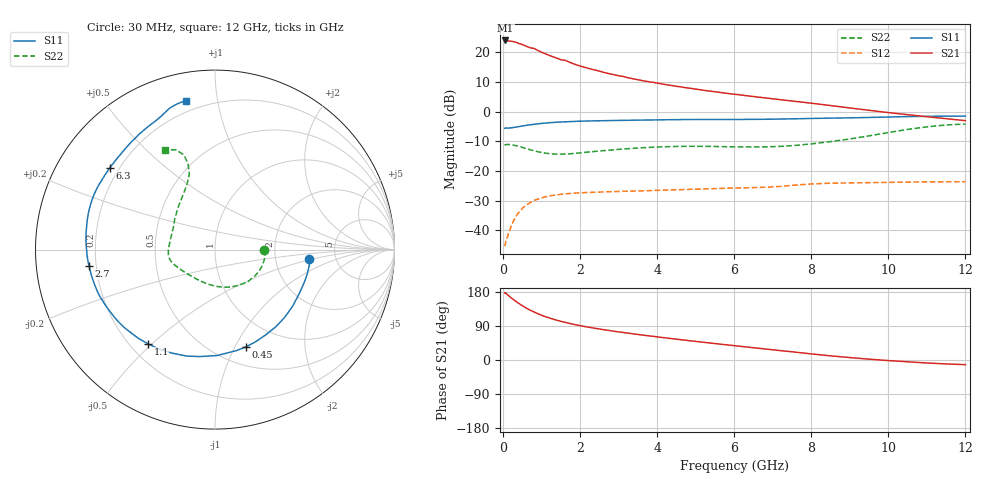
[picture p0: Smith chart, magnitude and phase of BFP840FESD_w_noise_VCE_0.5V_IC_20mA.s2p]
! Infineon Technologies  Discrete & RF Semiconductors
! BFP840FESD
! VCE =  0.5 V,  IC =  20 mA
! Common Emitter S-Parameters:  May 2012
# GHz  S  MA  R  50
!  f  S11  S21  S12  S22
! GHz  MAG  ANG  MAG  ANG  MAG  ANG  MAG  ANG
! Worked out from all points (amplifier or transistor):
!   103 points, 30 MHz to 12 GHz, reference 50 ohm
!   highest |S21| = 24.0 dB at 50 MHz (marker M1)
!   |S21| within 3 dB of that: start of sweep to 841.1 MHz
!   unconditionally stable (mu >= 1): start of sweep to 538.2 MHz; 1.902 GHz to end of sweep
!   at 400 MHz: K = 1.17, MAG = 25.9 dB, |S12| = -33.9 dB
!   at 3.7 GHz: K = 1.49, MAG = 14.3 dB, |S12| = -26.6 dB
!   at 12 GHz: K = 2.33, MAG = 3.8 dB, |S12| = -23.6 dB
!   lowest NFmin = 0.89 dB at 450 MHz
!   S11 on the Smith chart (normalised r, x): 30 MHz: 3.14, -0.44; 450 MHz: 0.69, -1.11; 1.1 GHz: 0.27, -0.48; 2.7 GHz: 0.17, -0.06; 6.3 GHz: 0.16, +0.33; 12 GHz: 0.14, +0.81
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0.03  0.5244 -5.6  15.67 177.1  0.0054 22.2  0.2716 -0.7
0.04  0.5246 -7.5  15.63 176.5  0.0057 23.3  0.275 -1.8
0.05  0.5325 -9.1  15.92 177.6  0.0058 22.3  0.2755 -3.0
0.09  0.5305 -16.6  15.83 173.5  0.0074 37.0  0.2797 -7.7
0.2  0.5354 -36.2  15.46 163.9  0.0118 52.8  0.2776 -19.7
0.35  0.5527 -59.2  14.66 152.7  0.0181 52.8  0.2656 -34.8
0.45  0.5686 -72.3  13.88 145.8  0.0218 51.0  0.256 -44.1
0.6  0.5903 -88.9  12.66 136.7  0.0268 46.9  0.2381 -57.2
0.7  0.6018 -98.1  11.94 131.1  0.0294 44.3  0.2278 -65.5
0.8  0.6139 -104.9  11.64 126.6  0.0319 41.6  0.2188 -73.5
0.9  0.6252 -112.9  10.76 121.9  0.0337 39.4  0.2109 -80.9
1.1  0.644 -125.5  9.409 113.9  0.0367 34.8  0.1997 -94.7
1.5  0.6719 -143.3  7.496 101.7  0.0405 28.6  0.1923 -117.5
1.6  0.6752 -146.0  7.383 99.4  0.0412 27.4  0.1938 -122.1
2.1  0.6957 -160.8  5.626 88.5  0.0432 22.9  0.2058 -139.4
2.7  0.7076 -172.7  4.457 78.5  0.0447 20.2  0.2234 -151.3
4.1  0.7306 167.0  2.955 59.7  0.0474 17.9  0.2552 -166.2
6.1  0.7408 144.6  1.943 36.7  0.0518 17.1  0.2554 171.7
6.3  0.7421 142.2  1.867 34.5  0.0521 17.2  0.2548 168.6
8.5  0.7796 118.8  1.27 10.9  0.0623 14.7  0.3134 130.8
10.5  0.8276 107.8  0.892 -4.7  0.065 10.3  0.5034 107.4
12  0.843 101.2  0.707 -12.3  0.066 9.7  0.6201 116.5
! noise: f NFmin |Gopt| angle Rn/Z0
0.45  0.89  0.1  3  0.13
0.9  0.92  0.1  10  0.14
1.5  0.93  0.09  16  0.13
1.9  0.94  0.08  31  0.13
2.4  0.94  0.08  51  0.14
3.5  0.94  0.08  87  0.14
5.5  1  0.08  160  0.12
8  1.1  0.11  -155  0.14
10  1.2  0.28  -116  0.17
12  1.39  0.44  -101  0.2
